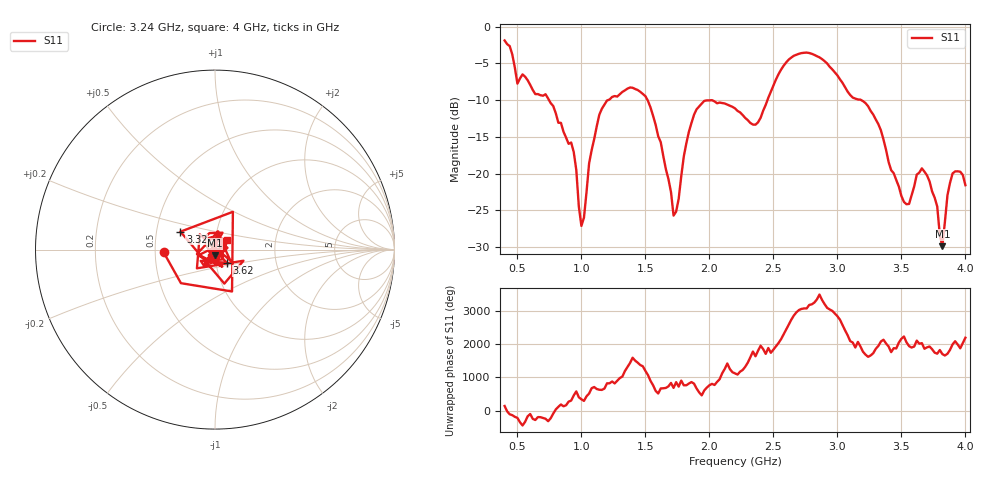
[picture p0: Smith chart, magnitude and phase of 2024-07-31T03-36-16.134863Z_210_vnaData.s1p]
!Created with skrf (http://scikit-rf.org).
# Hz S RI R 50.0
!freq ReS11 ImS11
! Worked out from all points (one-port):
!   181 points, 400 MHz to 4 GHz, reference 50 ohm
!   lowest |S11| = -29.9 dB at 3.82 GHz (marker M1), VSWR 1.07, Z = 49.6 - j3.17 ohm
!   |S11| at or under -10 dB: 746.7 MHz to 1.209 GHz (462.7 MHz wide, 47.3 % of centre); 1.516 GHz to 2.454 GHz (937.3 MHz wide, 47.2 % of centre); 3.185 GHz to end of sweep
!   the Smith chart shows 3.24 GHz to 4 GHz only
!   S11 on the Smith chart (normalised r, x): 3.24 GHz: 0.55, -0.02; 3.32 GHz: 0.67, +0.14; 3.62 GHz: 1.13, -0.17; 4 GHz: 1.13, +0.12
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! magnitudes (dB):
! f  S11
! 400 MHz  -1.9
! 500 MHz  -7.8
! 720 MHz  -9.2
! 860 MHz  -14.3
! 940 MHz  -17.1
! 1 GHz  -27.1
! 1.06 GHz  -18.6
! 1.14 GHz  -12.0
! 1.3 GHz  -9.2
! 1.5 GHz  -9.5
! 1.62 GHz  -15.7
! 1.72 GHz  -25.7
! 1.76 GHz  -23.4
! 1.82 GHz  -15.9
! 1.9 GHz  -11.3
! 2.2 GHz  -11.1
! 2.36 GHz  -13.4
! 2.66 GHz  -4.0
! 2.88 GHz  -4.4
! 3.1 GHz  -9.3
! 3.24 GHz  -10.8
! 3.32 GHz  -13.3
! 3.56 GHz  -24.1
! 3.62 GHz  -20.2
! 3.72 GHz  -21.1
! 3.82 GHz  -29.9
! 3.9 GHz  -20.0
! 4 GHz  -21.6
